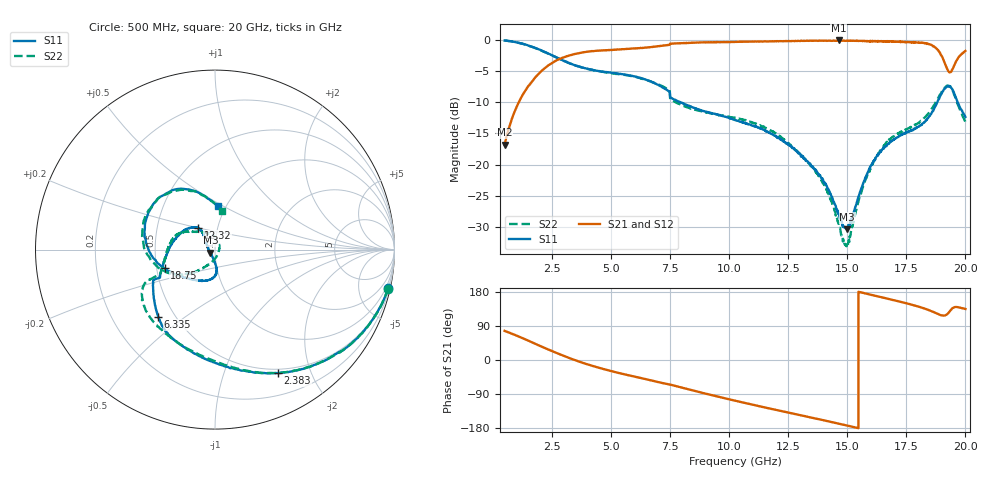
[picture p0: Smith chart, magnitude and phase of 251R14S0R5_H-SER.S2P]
!{251R14S0R5}
!Johanson Technology Inc.
!www.johansontechnology.com
!Test Board Conditions:
!Substrate Type  RO4350B
!Substrate Thickness  20 mil
!Substrate Dk  3.66
!TL Type: GCPW
!TL Trace Width  36 mil
!TL Gap  12 mil
!Electrode orientation  Horizontal
!DUT TOPOLOGY	SERIES
!Mounting Pad LxW  26x36 mil
! Created Mon Mar 16 17:01:56 2020
# mhz S ma R 50
! 2 Port Network Data from SP1.SP block
! freq  magS11  angS11  magS21  angS21  magS12  angS12  magS22  angS22
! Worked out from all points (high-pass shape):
!   19501 points, 500 MHz to 20 GHz, reference 50 ohm
!   highest |S21| = -0.09 dB at 14.64 GHz (marker M1); lowest = -16.8 dB at 500 MHz (marker M2)
!   |S21| within 3 dB of the highest: 2.805 GHz to 19.06 GHz (16.25 GHz wide, 149 % of centre); 19.66 GHz to end of sweep
!   lowest |S11| = -30.4 dB at 15 GHz (marker M3), VSWR 1.06, Z = 47.5 - j1.6 ohm
!   |S11| at or under -10 dB: 7.93 GHz to 18.81 GHz (10.88 GHz wide, 81.4 % of centre); 19.67 GHz to end of sweep
!   |S22| runs from -33.1 to -0.1 dB; largest |S21 - S12| = 0.018
!   S11 on the Smith chart (normalised r, x): 500 MHz: 0.48, -9.08; 2.383 GHz: 0.45, -1.54; 6.335 GHz: 0.41, -0.40; 12.32 GHz: 0.81, +0.20; 18.75 GHz: 0.55, -0.13; 20 GHz: 0.91, +0.47
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500  0.9885 -12.5  0.1444 76.8  0.1447 77.0  0.9881 -12.7
1282  0.9276 -32.9  0.3674 57.1  0.3678 56.9  0.9284 -33.1
2383  0.7724 -62.9  0.6312 26.8  0.63 26.8  0.7697 -63.1
3750  0.6037 -97.2  0.79 -6.4  0.7907 -6.4  0.603 -95.1
5342  0.5352 -119.9  0.838 -34.4  0.8385 -34.4  0.5309 -128.5
6335  0.4907 -130.1  0.8621 -48.5  0.8655 -48.6  0.4873 -146.3
7000  0.4364 -141.4  0.8895 -58.2  0.8914 -58.1  0.44 -153.9
8578  0.2828 -169.8  0.9491 -82.3  0.9517 -82.2  0.2748 -173.4
10250  0.2279 164.9  0.964 -107.3  0.9636 -107.4  0.2386 162.1
12324  0.1531 128.1  0.9774 -136.4  0.9766 -136.5  0.1598 141.6
13500  0.09757 129.0  0.9854 -152.1  0.983 -152.3  0.09594 111.0
14126  0.06777 140.1  0.982 -160.8  0.9874 -160.8  0.06336 83.7
14644  0.04027 169.3  0.9895 -168.0  0.984 -168.0  0.03396 41.6
15001  0.03031 -146.3  0.9863 -173.1  0.9863 -173.2  0.02359 -26.1
15818  0.08288 -87.8  0.9787 175.0  0.9787 174.9  0.07907 -108.5
16750  0.1475 -90.9  0.9686 161.1  0.9705 161.0  0.1559 -129.9
18066  0.2058 -124.8  0.9483 139.8  0.9445 139.7  0.2197 -141.7
18752  0.2999 -159.6  0.8592 123.9  0.8574 124.0  0.3174 -159.0
19157  0.4132 161.0  0.6315 118.0  0.6344 118.8  0.4194 164.5
19440  0.4043 124.3  0.5755 136.1  0.5812 136.7  0.4006 126.0
19676  0.3141 103.0  0.7086 139.4  0.7138 139.8  0.3044 101.3
20000  0.2413 86.7  0.8156 134.7  0.8204 134.7  0.2198 80.0
